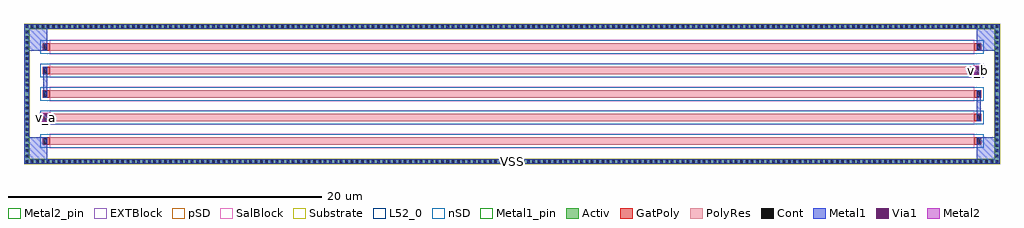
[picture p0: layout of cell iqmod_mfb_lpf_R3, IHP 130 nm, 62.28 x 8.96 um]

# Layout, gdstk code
from math import pi, radians
import gdstk
lib = gdstk.Library(unit=1e-6, precision=5e-09)
def R(c, l, rs):  # rectangles x0, y0, x1, y1
    for r in rs: c.add(gdstk.rectangle(r[:2], r[2:], *l))
def A(c, l, x, y, w, h, nx, ny, dx, dy):  # array of equal rectangles
    R(c, l, [(x+i*dx, y+j*dy, x+i*dx+w, y+j*dy+h) for i in range(nx) for j in range(ny)])
def P(c, l, *ps):  # polygons
    for p in ps: c.add(gdstk.Polygon(p, *l))
Activ = (1, 0)
GatPoly = (5, 0)
Cont = (6, 0)
nSD = (7, 0)
Metal1 = (8, 0)
Metal1_pin = (8, 2)
Metal2 = (10, 0)
Metal2_pin = (10, 2)
pSD = (14, 0)
Via1 = (19, 0)
SalBlock = (28, 0)
Substrate = (40, 0)
L52_0 = (52, 0)
EXTBlock = (111, 0)
PolyRes = (128, 0)

via_stack_1 = lib.new_cell('via_stack$1')
R(via_stack_1, Metal1, [(-0.35,-0.31,0.35,0.31)])
R(via_stack_1, Metal2, [(-0.35,-0.305,0.35,0.305)])
R(via_stack_1, Via1, [(-0.3,-0.3,-0.11,-0.11), (0.11,-0.3,0.3,-0.11), (-0.3,0.11,-0.11,0.3), (0.11,0.11,0.3,0.3)])

rhigh_1 = lib.new_cell('rhigh$1')
A(rhigh_1, GatPoly, 0, -0.43, 0.5, 0.43, 3, 2, 1.5, 59.43)
A(rhigh_1, Cont, 0.07, -0.36, 0.36, 0.16, 3, 2, 1.5, 59.56)
A(rhigh_1, nSD, -0.18, -0.61, 0.86, 0.79, 3, 2, 1.5, 59.43)
R(rhigh_1, nSD, [(-0.18,0,0.68,59), (-0.18,0,0.68,59), (1.32,0,2.18,59), (1.32,0,2.18,59), (2.82,0,3.68,59), (2.82,0,3.68,59)])
A(rhigh_1, Metal1, 0.02, -0.41, 0.46, 0.26, 3, 2, 1.5, 59.56)
R(rhigh_1, Metal1, [(1.52,-0.41,3.48,-0.15), (0.02,59.15,1.98,59.41)])
A(rhigh_1, Metal1_pin, 0.02, -0.41, 0.46, 0.26, 3, 2, 1.5, 59.56)
A(rhigh_1, pSD, -0.18, -0.61, 0.86, 0.79, 3, 2, 1.5, 59.43)
R(rhigh_1, pSD, [(-0.18,0,0.68,59), (-0.18,0,0.68,59), (1.32,0,2.18,59), (1.32,0,2.18,59), (2.82,0,3.68,59), (2.82,0,3.68,59)])
A(rhigh_1, SalBlock, -0.2, 0, 0.9, 59, 3, 1, 1.5, 0)
A(rhigh_1, L52_0, 0, 0, 0.5, 59, 3, 1, 1.5, 0)
A(rhigh_1, EXTBlock, -0.18, -0.61, 0.86, 0.79, 3, 2, 1.5, 59.43)
A(rhigh_1, EXTBlock, -0.2, 0, 0.9, 59, 3, 1, 1.5, 0)
A(rhigh_1, PolyRes, 0, 0, 0.5, 59, 3, 1, 1.5, 0)
rhigh_1.add(gdstk.Label('rhigh r=174754.783', (0.25,29.5), layer=63, texttype=0))
rhigh_1.add(gdstk.Label('rhigh r=174754.783', (0.25,29.5), layer=63, texttype=0))
rhigh_1.add(gdstk.Label('rhigh r=174754.783', (0.25,29.5), layer=63, texttype=0))
rhigh_1.add(gdstk.Label('rhigh', (0.25,29.5), layer=52, texttype=0))
rhigh_1.add(gdstk.Label('rhigh', (1.75,29.5), layer=52, texttype=0))
rhigh_1.add(gdstk.Label('rhigh', (3.25,29.5), layer=52, texttype=0))

rhigh = lib.new_cell('rhigh')
R(rhigh, Activ, [(-1.2,-1.31,-0.9,60.31), (7.4,-1.31,7.7,60.31), (-1.2,60.31,7.7,60.61)])
P(rhigh, Activ, [(-1.2,-1.61),(-1.2,60.31),(-0.9,60.31),(-0.9,-1.31),(7.4,-1.31),(7.4,60.31),(-1.2,60.31),(-1.2,60.61),(7.7,60.61),(7.7,-1.61)])
R(rhigh, GatPoly, [(0,-0.43,0.5,0), (6,-0.43,6.5,0), (0,59,0.5,59.43), (6,59,6.5,59.43)])
A(rhigh, Cont, -1.13, -1.54, 0.16, 0.16, 13, 2, 0.34, 61.92)
A(rhigh, Cont, 3.39, -1.54, 0.16, 0.16, 13, 2, 0.34, 61.92)
A(rhigh, Cont, -1.13, -1.2, 0.16, 0.16, 1, 90, 0, 0.34)
A(rhigh, Cont, 7.47, -1.2, 0.16, 0.16, 1, 90, 0, 0.34)
A(rhigh, Cont, -1.13, 29.44, 0.16, 0.16, 1, 91, 0, 0.34)
A(rhigh, Cont, 7.47, 29.44, 0.16, 0.16, 1, 91, 0, 0.34)
R(rhigh, Cont, [(0.07,-0.36,0.43,-0.2), (6.07,-0.36,6.43,-0.2), (0.07,59.2,0.43,59.36), (6.07,59.2,6.43,59.36)])
R(rhigh, nSD, [(-0.18,-0.61,0.68,0.18), (5.82,-0.61,6.68,0.18), (-0.18,0,0.68,59), (-0.18,0,0.68,59), (5.82,0,6.68,59), (5.82,0,6.68,59), (-0.18,58.82,0.68,59.61), (5.82,58.82,6.68,59.61)])
R(rhigh, Metal1, [(-1.2,-1.61,7.7,-1.31), (-1.2,-1.31,-0.9,60.31), (7.4,-1.31,7.7,60.31), (0.02,-0.41,0.48,-0.15), (6.02,-0.41,6.48,-0.15), (0.02,59.15,0.48,59.41), (6.02,59.15,6.48,59.41), (-1.2,60.31,7.7,60.61)])
R(rhigh, Metal1_pin, [(0.02,-0.41,0.48,-0.15), (6.02,-0.41,6.48,-0.15), (0.02,59.15,0.48,59.41), (6.02,59.15,6.48,59.41)])
R(rhigh, pSD, [(-1.23,-1.28,-0.87,60.28), (7.37,-1.28,7.73,60.28), (-0.18,-0.61,0.68,0.18), (5.82,-0.61,6.68,0.18), (-0.18,0,0.68,59), (-0.18,0,0.68,59), (5.82,0,6.68,59), (5.82,0,6.68,59), (-0.18,58.82,0.68,59.61), (5.82,58.82,6.68,59.61), (-1.23,60.28,7.73,60.64)])
P(rhigh, pSD, [(-1.23,-1.64),(-1.23,60.28),(-0.87,60.28),(-0.87,-1.28),(7.37,-1.28),(7.37,60.28),(-1.23,60.28),(-1.23,60.64),(7.73,60.64),(7.73,-1.64)])
R(rhigh, SalBlock, [(-0.2,0,0.7,59), (5.8,0,6.7,59)])
R(rhigh, Substrate, [(-1.23,-1.28,-0.87,60.28), (7.37,-1.28,7.73,60.28), (-1.23,60.28,7.73,60.64)])
P(rhigh, Substrate, [(-1.23,-1.64),(-1.23,60.28),(-0.87,60.28),(-0.87,-1.28),(7.37,-1.28),(7.37,60.28),(-1.23,60.28),(-1.23,60.64),(7.73,60.64),(7.73,-1.64)])
R(rhigh, L52_0, [(0,0,0.5,59), (6,0,6.5,59)])
R(rhigh, EXTBlock, [(-0.18,-0.61,0.68,0.18), (5.82,-0.61,6.68,0.18), (-0.2,0,0.7,59), (5.8,0,6.7,59), (-0.18,58.82,0.68,59.61), (5.82,58.82,6.68,59.61)])
R(rhigh, PolyRes, [(0,0,0.5,59), (6,0,6.5,59)])
rhigh.add(gdstk.Label('rhigh r=174754.783', (0.25,29.5), layer=63, texttype=0))
rhigh.add(gdstk.Label('rhigh r=174754.783', (0.25,29.5), layer=63, texttype=0))
rhigh.add(gdstk.Label('sub!', (3.25,-1.46), layer=63, texttype=0))
rhigh.add(gdstk.Label('rhigh', (0.25,29.5), layer=52, texttype=0))
rhigh.add(gdstk.Label('rhigh', (6.25,29.5), layer=52, texttype=0))

iqmod_mfb_lpf_r3 = lib.new_cell('iqmod_mfb_lpf_R3')
R(iqmod_mfb_lpf_r3, Metal1, [(0.03,0.03,1.49,1.71), (31,0.03,31.32,0.33), (60.79,0.03,62.25,1.71), (0.03,7.25,1.49,8.93), (60.79,7.25,62.25,8.93)])
R(iqmod_mfb_lpf_r3, Metal1_pin, [(31.035,0.055,31.285,0.305)])
R(iqmod_mfb_lpf_r3, Metal2_pin, [(1.25,2.87,1.47,3.09), (60.81,5.87,61.03,6.09)])
iqmod_mfb_lpf_r3.add(gdstk.Reference(via_stack_1, (1.36,2.98), x_reflection=True))
iqmod_mfb_lpf_r3.add(gdstk.Reference(rhigh_1, (1.64,2.73), rotation=pi/2, x_reflection=True))
iqmod_mfb_lpf_r3.add(gdstk.Reference(via_stack_1, (60.92,5.98), x_reflection=True))
iqmod_mfb_lpf_r3.add(gdstk.Reference(rhigh, (1.64,1.23), rotation=pi/2, x_reflection=True))
iqmod_mfb_lpf_r3.add(gdstk.Label('VSS', (31.16,0.18), layer=8, texttype=25))
iqmod_mfb_lpf_r3.add(gdstk.Label('v_b', (60.92,5.98), layer=10, texttype=25))
iqmod_mfb_lpf_r3.add(gdstk.Label('v_a', (1.36,2.98), layer=10, texttype=25))

lib.write_gds('iqmod_mfb_lpf_R3.gds')
